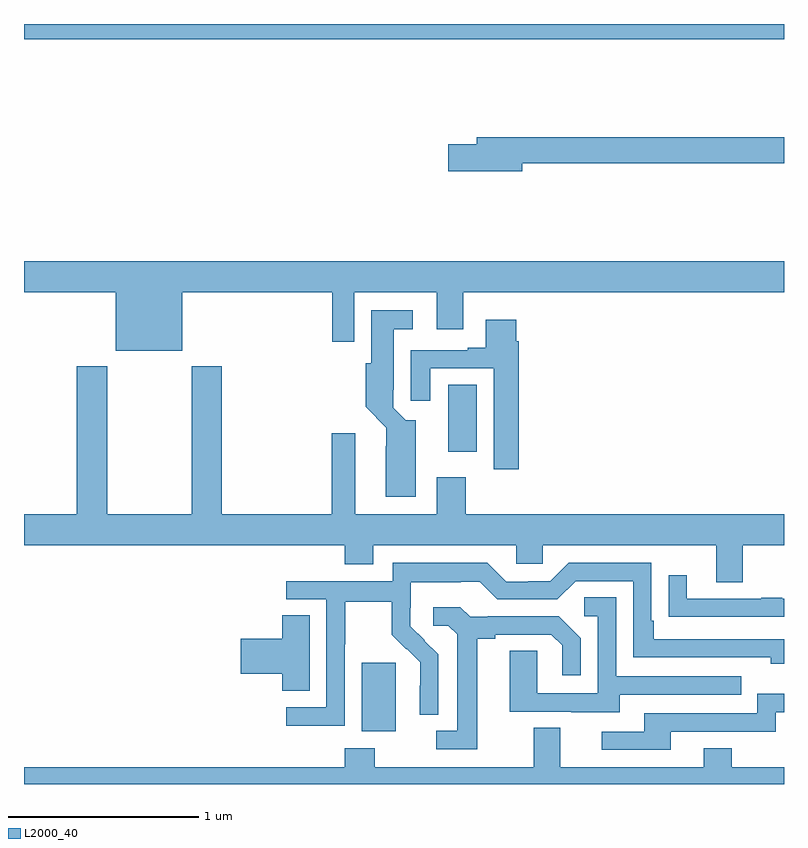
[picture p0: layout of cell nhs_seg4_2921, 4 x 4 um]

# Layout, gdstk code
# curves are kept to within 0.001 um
import gdstk
lib = gdstk.Library(unit=1e-6, precision=1e-09)
def R(c, l, rs):  # rectangles x0, y0, x1, y1
    for r in rs: c.add(gdstk.rectangle(r[:2], r[2:], *l))
def P(c, l, *ps):  # polygons
    for p in ps: c.add(gdstk.Polygon(p, *l))
L2000_40 = (2000, 40)

nhs_seg4_2921 = lib.new_cell('nhs_seg4_2921')
R(nhs_seg4_2921, L2000_40, [(266.777,793.178,266.956,793.539), (267.233,794.649,267.382,795.002), (265,796.82,269,796.9)])
P(nhs_seg4_2921, L2000_40, [(267.622,796.168),(269,796.168),(269,796.304),(267.383,796.304),(267.383,796.268),(267.234,796.268),(267.234,796.126),(267.622,796.126)],
  [(265.834,795.488),(266.623,795.488),(266.623,795.228),(266.739,795.228),(266.739,795.488),(267.173,795.488),(267.173,795.294),(267.313,795.294),(267.313,795.488),(269,795.488),(269,795.652),(265,795.652),(265,795.488),(265.484,795.488),(265.484,795.179),(265.834,795.179)],
  [(267.061,794.814),(267.009,794.814),(266.943,794.88),(266.943,794.974),(266.947,794.974),(266.947,795.293),(267.046,795.293),(267.046,795.394),(266.828,795.394),(266.828,795.114),(266.798,795.114),(266.798,794.885),(266.907,794.776),(266.907,794.678),(266.903,794.678),(266.903,794.411),(267.061,794.411)],
  [(267.605,795.23),(267.592,795.23),(267.592,795.343),(267.431,795.343),(267.431,795.196),(267.335,795.196),(267.335,795.183),(267.035,795.183),(267.035,794.916),(267.139,794.916),(267.139,795.087),(267.473,795.087),(267.473,794.556),(267.605,794.556)],
  [(268.783,794.156),(269,794.156),(269,794.32),(267.326,794.32),(267.326,794.515),(267.173,794.515),(267.173,794.32),(266.743,794.32),(266.743,794.746),(266.621,794.746),(266.621,794.32),(266.042,794.32),(266.042,795.1),(265.882,795.1),(265.882,794.32),(265.437,794.32),(265.437,795.1),(265.277,795.1),(265.277,794.32),(265,794.32),(265,794.156),(266.687,794.156),(266.687,794.057),(266.839,794.057),(266.839,794.156),(267.591,794.156),(267.591,794.058),(267.729,794.058),(267.729,794.156),(268.643,794.156),(268.643,793.962),(268.783,793.962)],
  [(266.688,793.636),(266.691,793.636),(266.691,793.86),(266.935,793.86),(266.935,793.685),(267.012,793.608),(267.015,793.611),(267.086,793.541),(267.086,793.418),(267.084,793.418),(267.084,793.264),(267.18,793.264),(267.18,793.582),(267.034,793.73),(267.034,793.827),(267.036,793.827),(267.036,793.961),(267.299,793.961),(267.299,793.965),(267.399,793.965),(267.492,793.872),(267.807,793.872),(267.903,793.968),(268.206,793.968),(268.206,793.566),(268.931,793.566),(268.931,793.532),(269,793.532),(269,793.662),(268.315,793.662),(268.315,793.759),(268.302,793.759),(268.302,794.064),(267.867,794.064),(267.771,793.968),(267.653,793.968),(267.653,793.965),(267.537,793.965),(267.437,794.065),(266.94,794.065),(266.94,793.968),(266.379,793.968),(266.379,793.872),(266.592,793.872),(266.592,793.305),(266.379,793.305),(266.379,793.207),(266.688,793.207)],
  [(269,793.875),(268.991,793.875),(268.991,793.88),(268.879,793.88),(268.879,793.875),(268.489,793.875),(268.489,793.999),(268.393,793.999),(268.393,793.78),(268.495,793.78),(268.495,793.779),(269,793.779)],
  [(268.135,793.371),(268.775,793.371),(268.775,793.467),(268.116,793.467),(268.116,793.883),(267.948,793.883),(267.948,793.782),(268.02,793.782),(268.02,793.377),(267.702,793.377),(267.702,793.601),(267.557,793.601),(267.557,793.281),(267.881,793.281),(267.881,793.277),(268.135,793.277)],
  [(267.385,793.664),(267.481,793.664),(267.481,793.686),(267.776,793.686),(267.833,793.629),(267.833,793.473),(267.93,793.473),(267.93,793.666),(267.814,793.782),(267.442,793.782),(267.442,793.779),(267.348,793.779),(267.296,793.831),(267.153,793.831),(267.153,793.734),(267.234,793.734),(267.281,793.687),(267.281,793.179),(267.171,793.179),(267.171,793.083),(267.385,793.083)],
  [(266.503,793.787),(266.36,793.787),(266.36,793.664),(266.142,793.664),(266.142,793.481),(266.36,793.481),(266.36,793.39),(266.503,793.39)],
  [(268.405,793.176),(268.956,793.176),(268.956,793.278),(269,793.278),(269,793.375),(268.86,793.375),(268.86,793.272),(268.265,793.272),(268.265,793.176),(268.041,793.176),(268.041,793.08),(268.405,793.08)],
  [(269,792.988),(268.725,792.988),(268.725,793.087),(268.577,793.087),(268.577,792.988),(267.823,792.988),(267.823,793.196),(267.683,793.196),(267.683,792.988),(266.847,792.988),(266.847,793.087),(266.687,793.087),(266.687,792.988),(265,792.988),(265,792.9),(269,792.9)])

lib.write_gds('nhs_seg4_2921.gds')
